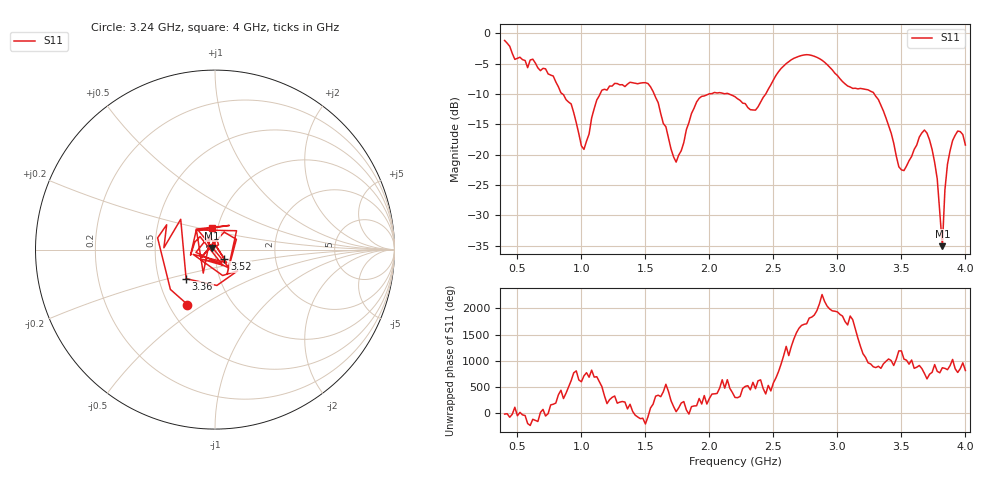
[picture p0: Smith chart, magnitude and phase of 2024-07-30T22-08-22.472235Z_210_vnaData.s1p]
!Created with skrf (http://scikit-rf.org).
# Hz S RI R 50.0
!freq ReS11 ImS11
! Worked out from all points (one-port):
!   181 points, 400 MHz to 4 GHz, reference 50 ohm
!   lowest |S11| = -35.1 dB at 3.82 GHz (marker M1), VSWR 1.04, Z = 48.5 + j0.864 ohm
!   |S11| at or under -10 dB: 853 MHz to 1.146 GHz (292.9 MHz wide, 29.3 % of centre); 1.568 GHz to 1.996 GHz (427.3 MHz wide, 24 % of centre); 3.288 GHz to end of sweep (the widest 3 of 4)
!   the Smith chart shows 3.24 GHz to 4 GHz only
!   S11 on the Smith chart (normalised r, x): 3.24 GHz: 0.62, -0.43; 3.36 GHz: 0.69, -0.24; 3.52 GHz: 1.10, -0.12; 4 GHz: 0.94, +0.23
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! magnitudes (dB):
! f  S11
! 400 MHz  -1.2
! 860 MHz  -10.1
! 920 MHz  -11.6
! 1.02 GHz  -19.1
! 1.16 GHz  -9.4
! 1.3 GHz  -8.5
! 1.52 GHz  -8.3
! 1.6 GHz  -11.4
! 1.72 GHz  -20.4
! 1.76 GHz  -20.1
! 1.92 GHz  -10.7
! 2.2 GHz  -10.4
! 2.36 GHz  -12.7
! 2.66 GHz  -4.1
! 2.84 GHz  -3.9
! 3.1 GHz  -8.8
! 3.24 GHz  -9.3
! 3.36 GHz  -12.8
! 3.48 GHz  -22.0
! 3.52 GHz  -22.6
! 3.56 GHz  -21.0
! 3.7 GHz  -16.4
! 3.78 GHz  -24.0
! 3.82 GHz  -35.1
! 3.84 GHz  -25.8
! 3.88 GHz  -19.4
! 3.94 GHz  -16.1
! 4 GHz  -18.4
